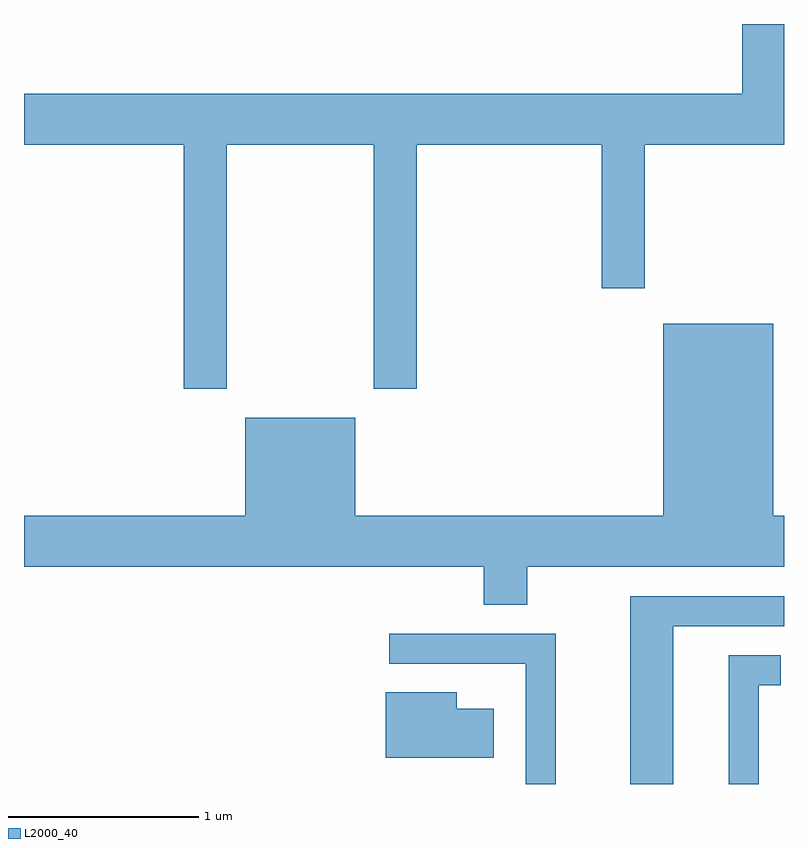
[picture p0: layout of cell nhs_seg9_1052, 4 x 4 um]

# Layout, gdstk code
import gdstk
lib = gdstk.Library(unit=1e-6, precision=1e-09)
def P(c, l, *ps):  # polygons
    for p in ps: c.add(gdstk.Polygon(p, *l))
L2000_40 = (2000, 40)

nhs_seg9_1052 = lib.new_cell('nhs_seg9_1052')
P(nhs_seg9_1052, L2000_40, [(216.679,2011.796),(217.451,2011.796),(217.451,2010.511),(217.679,2010.511),(217.679,2011.796),(218.651,2011.796),(218.651,2011.041),(218.879,2011.041),(218.879,2011.796),(219.611,2011.796),(219.611,2012.432),(219.391,2012.432),(219.391,2012.064),(215.611,2012.064),(215.611,2011.796),(216.451,2011.796),(216.451,2010.511),(216.679,2010.511)],
  [(218.259,2009.576),(219.611,2009.576),(219.611,2009.844),(219.554,2009.844),(219.554,2010.854),(218.976,2010.854),(218.976,2009.844),(217.354,2009.844),(217.354,2010.359),(216.776,2010.359),(216.776,2009.844),(215.611,2009.844),(215.611,2009.576),(218.031,2009.576),(218.031,2009.376),(218.259,2009.376)],
  [(219.029,2009.261),(219.611,2009.261),(219.611,2009.419),(218.801,2009.419),(218.801,2008.432),(219.029,2008.432)],
  [(218.409,2009.224),(217.533,2009.224),(217.533,2009.066),(218.251,2009.066),(218.251,2008.432),(218.409,2008.432)],
  [(219.479,2008.951),(219.593,2008.951),(219.593,2009.109),(219.321,2009.109),(219.321,2008.432),(219.479,2008.432)],
  [(218.084,2008.829),(217.889,2008.829),(217.889,2008.914),(217.516,2008.914),(217.516,2008.571),(218.084,2008.571)])

lib.write_gds('nhs_seg9_1052.gds')
